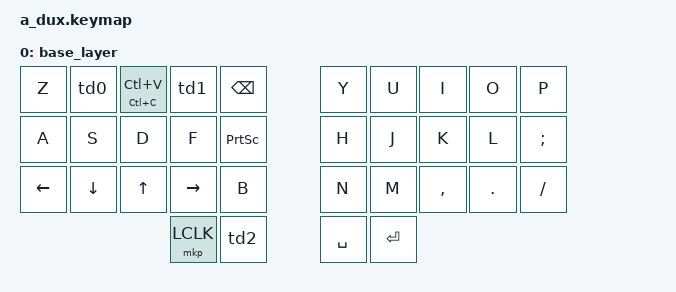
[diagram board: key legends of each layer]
/*
 * Copyright (c) 2021 The ZMK Contributors
 *
 * SPDX-License-Identifier: MIT
 */

#include <behaviors.dtsi>
#include <dt-bindings/zmk/keys.h>
#include <dt-bindings/zmk/mouse.h>
#include <behaviors/mouse_keys.dtsi>

//tap dance tap dance tap dance tap dance ctap dance tap dance tap dance tap dance tap dance tap dance tap dance tap dance tap dance tap dance tap dance 

/ {
    behaviors {
        td0: tap_dance_0 {                                 //left tab
            compatible = "zmk,behavior-tap-dance";
            #binding-cells = <0>;
            tapping-term-ms = <200>;
            bindings = <&kp LS(COMMA)>, <&kp LC(LS(TAB))>;
        };
        td1: tap_dance_1 {                                 //right tab
            compatible = "zmk,behavior-tap-dance";
            #binding-cells = <0>;
            tapping-term-ms = <200>;
            bindings = <&kp LS(DOT)>, <&kp LC(TAB)>;
        };
        td2: tap_dance_2 {                                 //mclick
            compatible = "zmk,behavior-tap-dance";
            #binding-cells = <0>;
            tapping-term-ms = <200>;
            bindings = <&mkp MCLK>, <&kp LC(LS(T))>;
        };
        td3: tap_dance_3 {                                 //rclick
            compatible = "zmk,behavior-tap-dance";
            #binding-cells = <0>;
            tapping-term-ms = <200>;
            bindings = <&mkp RCLK>, <&kp LC(W)>;
        };

    };
};

//custom hold tap custom hold tap custom hold tap custom hold tap custom hold tap custom hold tap custom hold tap custom hold tap custom hold tap

#define CP() &cp LC(V) LC(C)
/ {
        cp: copy_paste {
            compatible = "zmk,behavior-hold-tap";
            label = "COPY&PASTE";
            #binding-cells = <2>;
            tapping_term_ms = <200>;
            quick_tap_ms = <0>;
            flavor = "tap-preferred";
            bindings = <&kp>, <&kp>;
        };
};

//macros macros macros macros macros macros macros macros macros macros macros macros macros macros macros macros macros macros macros macros macros 

/ {
macros {
    macro_name: macro_name {
        label = "my_macro";
        compatible = "zmk,behavior-macro";
        #binding-cells = <0>;
        bindings
            = <&macro_press &kp LSHFT>
            , <&macro_tap &kp A &kp B &kp C>
            , <&macro_release &kp LSHFT>
            ;
    };

};
};

//combos combos combos combos combos combos combos combos combos combos combos combos combos combos combos combos combos combos combos combos combos 

/ {
    combos {
        compatible = "zmk,combos";

        combo_pgup {
            timeout-ms = <175>;
            key-positions = <0 1>;
            bindings = <&kp PG_UP>;
        };
        combo_pgdn {
            timeout-ms = <175>;
            key-positions = <0 2>;
            bindings = <&kp PG_DN>;
        };
        combo_esc {
            timeout-ms = <175>;
            key-positions = <0 3>;
            bindings = <&kp ESC>;
        };
        combo_reset {
            timeout-ms = <175>;
            key-positions = <0 4>;
            bindings = <&kp &bootloader>;
        };

    };
};

//keymap keymap keymap keymap keymap keymap keymap keymap keymap keymap keymap keymap keymap keymap keymap keymap keymap keymap keymap keymap keymap 

/ {
    keymap {
        compatible = "zmk,keymap";
        base_layer {
            bindings = <
                &kp Z        &td0             &cp LC(C) LC(V)        &td1          &kp BSPC                                          &kp Y     &kp U     &kp I     &kp O     &kp P
                &kp A        &kp S            &kp D                  &kp F         &kp PSCRN                                         &kp H     &kp J     &kp K     &kp L     &kp SEMI
                &kp LEFT     &kp DOWN         &kp UP                 &kp RIGHT     &kp B                                             &kp N     &kp M     &kp COMMA &kp DOT   &kp SLASH
    &mkp LCLK   &td2                                                                                                             &kp SPACE &kp ENTER
            >;
        };

    };
};
